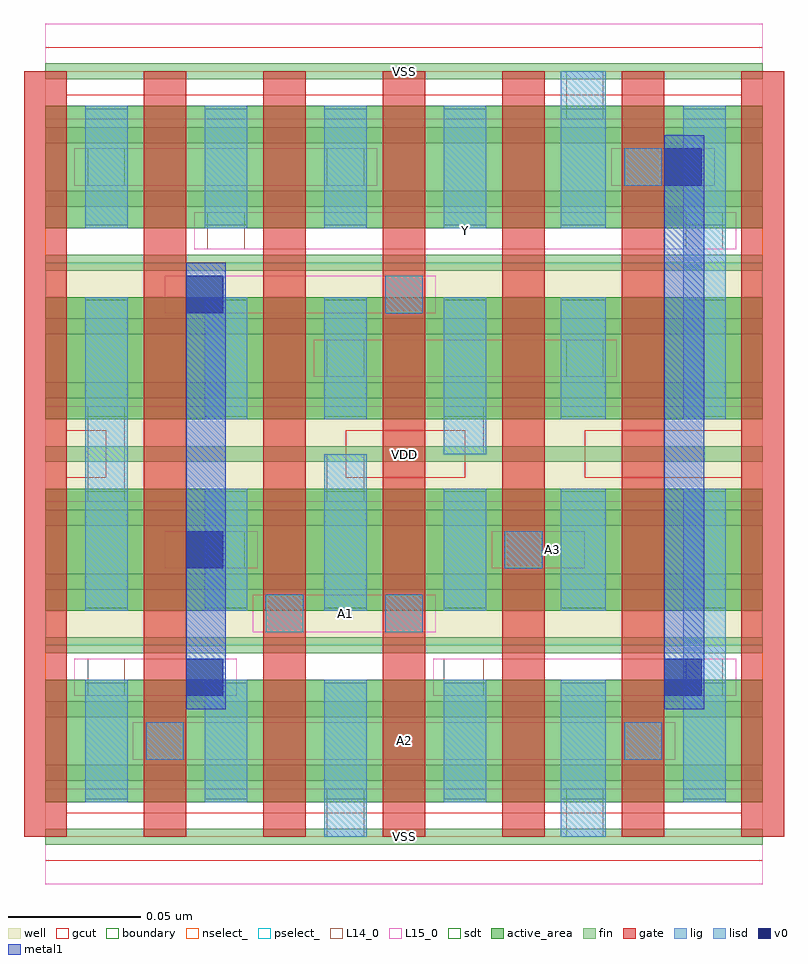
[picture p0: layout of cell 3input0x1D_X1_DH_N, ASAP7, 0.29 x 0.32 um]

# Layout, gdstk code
import gdstk
lib = gdstk.Library(unit=1e-6, precision=1e-09)
def R(c, l, rs):  # rectangles x0, y0, x1, y1
    for r in rs: c.add(gdstk.rectangle(r[:2], r[2:], *l))
def A(c, l, x, y, w, h, nx, ny, dx, dy):  # array of equal rectangles
    R(c, l, [(x+i*dx, y+j*dy, x+i*dx+w, y+j*dy+h) for i in range(nx) for j in range(ny)])
def P(c, l, *ps):  # polygons
    for p in ps: c.add(gdstk.Polygon(p, *l))
well = (1, 0)
fin = (2, 0)
gate = (7, 0)
gcut = (10, 0)
active_area = (11, 0)
nselect_ = (12, 0)
pselect_ = (13, 0)
L14_0 = (14, 0)
L15_0 = (15, 0)
lig = (16, 0)
lisd = (17, 0)
v0 = (18, 0)
metal1 = (19, 0)
sdt = (88, 0)
boundary = (100, 0)

c_3input0x1d_x1_dh_n = lib.new_cell('3input0x1D_X1_DH_N')
R(c_3input0x1d_x1_dh_n, well, [(0,0.072,0.27,0.144), (0,0.144,0.27,0.216)])
A(c_3input0x1d_x1_dh_n, fin, 0, -0.003, 0.27, 0.006, 1, 13, 0, 0.024)
A(c_3input0x1d_x1_dh_n, gate, -0.008, 0, 0.016, 0.288, 7, 1, 0.045, 0)
R(c_3input0x1d_x1_dh_n, gcut, [(0.113,0.135,0.158,0.153)])
P(c_3input0x1d_x1_dh_n, gcut, [(0,-0.009),(0,0),(-0.008,0),(-0.008,0.279),(0.008,0.279),(0.008,0.153),(0.023,0.153),(0.023,0.135),(0.008,0.135),(0.008,0.009),(0.262,0.009),(0.262,0.135),(0.203,0.135),(0.203,0.153),(0.262,0.153),(0.262,0.279),(-0.008,0.279),(-0.008,0.288),(0,0.288),(0,0.297),(0.27,0.297),(0.27,0.288),(0.278,0.288),(0.278,0),(0.27,0),(0.27,-0.009)])
A(c_3input0x1d_x1_dh_n, active_area, 0, 0.013, 0.27, 0.046, 1, 4, 0, 0.072)
R(c_3input0x1d_x1_dh_n, nselect_, [(0,0,0.27,0.072), (0,0.216,0.27,0.288)])
R(c_3input0x1d_x1_dh_n, pselect_, [(0,0.072,0.27,0.144), (0,0.144,0.27,0.216)])
R(c_3input0x1d_x1_dh_n, L14_0, [(0.106,0,0.12,0.018), (0.196,0,0.21,0.018), (0.038,0.029,0.052,0.043), (0.218,0.029,0.232,0.043), (0.016,0.053,0.03,0.067), (0.15,0.053,0.165,0.067), (0.241,0.053,0.255,0.067), (0.083,0.077,0.097,0.091), (0.128,0.077,0.142,0.091), (0.061,0.101,0.075,0.115), (0.173,0.101,0.187,0.115), (0.016,0.126,0.03,0.144), (0.106,0.126,0.12,0.144), (0.016,0.144,0.03,0.162), (0.15,0.144,0.165,0.162), (0.106,0.173,0.12,0.187), (0.196,0.173,0.21,0.187), (0.128,0.197,0.142,0.211), (0.061,0.221,0.075,0.235), (0.241,0.221,0.255,0.235), (0.016,0.245,0.03,0.259), (0.106,0.245,0.12,0.259), (0.218,0.245,0.232,0.259), (0.196,0.27,0.21,0.288)])
A(c_3input0x1d_x1_dh_n, L15_0, 0, -0.018, 0.27, 0.036, 1, 3, 0, 0.144)
R(c_3input0x1d_x1_dh_n, L15_0, [(0.033,0.029,0.237,0.043), (0.011,0.053,0.072,0.067), (0.146,0.053,0.26,0.067), (0.078,0.077,0.147,0.091), (0.045,0.101,0.08,0.115), (0.168,0.101,0.203,0.115), (0.101,0.173,0.215,0.187), (0.045,0.197,0.147,0.211), (0.056,0.221,0.26,0.235), (0.011,0.245,0.125,0.259), (0.213,0.245,0.252,0.259)])
R(c_3input0x1d_x1_dh_n, lig, [(0.038,0.029,0.052,0.043), (0.218,0.029,0.232,0.043), (0.083,0.077,0.097,0.091), (0.128,0.077,0.142,0.091), (0.173,0.101,0.187,0.115), (0.128,0.197,0.142,0.211), (0.218,0.245,0.232,0.259)])
A(c_3input0x1d_x1_dh_n, lisd, 0.06, 0.013, 0.016, 0.046, 1, 3, 0, 0.072)
A(c_3input0x1d_x1_dh_n, lisd, 0.015, 0.229, 0.016, 0.046, 4, 1, 0.045, 0)
R(c_3input0x1d_x1_dh_n, lisd, [(0.105,0,0.121,0.059), (0.194,0,0.211,0.059), (0.015,0.013,0.031,0.059), (0.15,0.013,0.166,0.059), (0.24,0.013,0.256,0.131), (0.015,0.085,0.031,0.203), (0.105,0.085,0.121,0.144), (0.15,0.085,0.166,0.131), (0.194,0.085,0.211,0.131), (0.15,0.144,0.166,0.203), (0.105,0.157,0.121,0.203), (0.194,0.157,0.211,0.203), (0.24,0.157,0.256,0.275), (0.194,0.229,0.211,0.288)])
R(c_3input0x1d_x1_dh_n, v0, [(0.053,0.053,0.067,0.067), (0.233,0.053,0.247,0.067), (0.053,0.101,0.067,0.115), (0.053,0.197,0.067,0.211), (0.233,0.245,0.247,0.259)])
R(c_3input0x1d_x1_dh_n, metal1, [(0.053,0.048,0.068,0.216), (0.233,0.048,0.248,0.264)])
A(c_3input0x1d_x1_dh_n, sdt, 0.015, 0.014, 0.016, 0.044, 4, 4, 0.045, 0.072)
A(c_3input0x1d_x1_dh_n, sdt, 0.194, 0.014, 0.017, 0.044, 1, 4, 0, 0.072)
A(c_3input0x1d_x1_dh_n, sdt, 0.24, 0.014, 0.016, 0.044, 1, 4, 0, 0.072)
R(c_3input0x1d_x1_dh_n, boundary, [(0,0,0.27,0.288)])
c_3input0x1d_x1_dh_n.add(gdstk.Label('Y', (0.158,0.228), layer=15, texttype=251))
c_3input0x1d_x1_dh_n.add(gdstk.Label('VSS', (0.135,0), layer=15, texttype=251))
c_3input0x1d_x1_dh_n.add(gdstk.Label('VDD', (0.135,0.144), layer=15, texttype=251))
c_3input0x1d_x1_dh_n.add(gdstk.Label('VDD', (0.135,0.144), layer=15, texttype=251))
c_3input0x1d_x1_dh_n.add(gdstk.Label('VSS', (0.135,0.288), layer=15, texttype=251))
c_3input0x1d_x1_dh_n.add(gdstk.Label('A2', (0.135,0.036), layer=15, texttype=251))
c_3input0x1d_x1_dh_n.add(gdstk.Label('VSS', (0.135,0), layer=15, texttype=251))
c_3input0x1d_x1_dh_n.add(gdstk.Label('VDD', (0.135,0.144), layer=15, texttype=251))
c_3input0x1d_x1_dh_n.add(gdstk.Label('VDD', (0.135,0.144), layer=15, texttype=251))
c_3input0x1d_x1_dh_n.add(gdstk.Label('VSS', (0.135,0.288), layer=15, texttype=251))
c_3input0x1d_x1_dh_n.add(gdstk.Label('A1', (0.113,0.084), layer=15, texttype=251))
c_3input0x1d_x1_dh_n.add(gdstk.Label('VSS', (0.135,0), layer=15, texttype=251))
c_3input0x1d_x1_dh_n.add(gdstk.Label('VDD', (0.135,0.144), layer=15, texttype=251))
c_3input0x1d_x1_dh_n.add(gdstk.Label('VDD', (0.135,0.144), layer=15, texttype=251))
c_3input0x1d_x1_dh_n.add(gdstk.Label('VSS', (0.135,0.288), layer=15, texttype=251))
c_3input0x1d_x1_dh_n.add(gdstk.Label('A3', (0.191,0.108), layer=15, texttype=251))
c_3input0x1d_x1_dh_n.add(gdstk.Label('VSS', (0.135,0), layer=15, texttype=251))
c_3input0x1d_x1_dh_n.add(gdstk.Label('VDD', (0.135,0.144), layer=15, texttype=251))
c_3input0x1d_x1_dh_n.add(gdstk.Label('VDD', (0.135,0.144), layer=15, texttype=251))
c_3input0x1d_x1_dh_n.add(gdstk.Label('VSS', (0.135,0.288), layer=15, texttype=251))
c_3input0x1d_x1_dh_n.add(gdstk.Label('VSS', (0.135,0), layer=3, texttype=251))
c_3input0x1d_x1_dh_n.add(gdstk.Label('VSS', (0.135,0.288), layer=3, texttype=251))
c_3input0x1d_x1_dh_n.add(gdstk.Label('VSS', (0.135,0), layer=3, texttype=251))
c_3input0x1d_x1_dh_n.add(gdstk.Label('VSS', (0.135,0.288), layer=3, texttype=251))
c_3input0x1d_x1_dh_n.add(gdstk.Label('VSS', (0.135,0), layer=3, texttype=251))
c_3input0x1d_x1_dh_n.add(gdstk.Label('VSS', (0.135,0.288), layer=3, texttype=251))
c_3input0x1d_x1_dh_n.add(gdstk.Label('VSS', (0.135,0), layer=3, texttype=251))
c_3input0x1d_x1_dh_n.add(gdstk.Label('VSS', (0.135,0.288), layer=3, texttype=251))
c_3input0x1d_x1_dh_n.add(gdstk.Label('VDD', (0.135,0.144), layer=1, texttype=251))
c_3input0x1d_x1_dh_n.add(gdstk.Label('VDD', (0.135,0.144), layer=1, texttype=251))
c_3input0x1d_x1_dh_n.add(gdstk.Label('VDD', (0.135,0.144), layer=1, texttype=251))
c_3input0x1d_x1_dh_n.add(gdstk.Label('VDD', (0.135,0.144), layer=1, texttype=251))
c_3input0x1d_x1_dh_n.add(gdstk.Label('VDD', (0.135,0.144), layer=1, texttype=251))
c_3input0x1d_x1_dh_n.add(gdstk.Label('VDD', (0.135,0.144), layer=1, texttype=251))
c_3input0x1d_x1_dh_n.add(gdstk.Label('VDD', (0.135,0.144), layer=1, texttype=251))
c_3input0x1d_x1_dh_n.add(gdstk.Label('VDD', (0.135,0.144), layer=1, texttype=251))

lib.write_gds('3input0x1D_X1_DH_N.gds')
